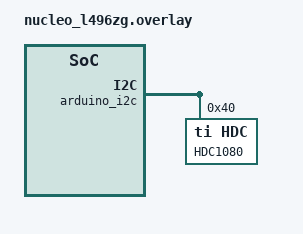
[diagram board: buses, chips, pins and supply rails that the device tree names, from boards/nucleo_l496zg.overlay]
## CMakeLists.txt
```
# SPDX-License-Identifier: Apache-2.0

cmake_minimum_required(VERSION 3.13.1)

find_package(Zephyr REQUIRED HINTS $ENV{ZEPHYR_BASE})
project(ti_hdc)

FILE(GLOB app_sources src/*.c)
target_sources(app PRIVATE ${app_sources})
```

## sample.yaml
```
sample:
  name: TI HDC Humidity/Temperature Sensor
tests:
  sample.sensor.ti_hdc:
    harness: sensor
    platform_allow: reel_board nucleo_l496zg
    integration_platforms:
      - reel_board
    tags: sensors
    depends_on: i2c
```

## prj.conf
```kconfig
CONFIG_ASSERT=y # validation
CONFIG_I2C=y
CONFIG_GPIO=y
CONFIG_SENSOR=y
CONFIG_TI_HDC=y
```

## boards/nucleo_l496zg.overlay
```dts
/*
 * Copyright (c) 2019 Centaur Analytics, Inc
 *
 * SPDX-License-Identifier: Apache-2.0
 */

&arduino_i2c {

	ti_hdc: ti_hdc@40 {
		compatible = "ti,hdc","ti,hdc1080";
		reg = <0x40>;
		label = "HDC1080";
	};

};
```

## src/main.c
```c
/*
 * Copyright (c) 2019 Centaur Analytics
 *
 * SPDX-License-Identifier: Apache-2.0
 */

#include <zephyr.h>
#include <device.h>
#include <drivers/sensor.h>
#include <sys/printk.h>
#include <sys/__assert.h>
#include <logging/log.h>
#include <drivers/gpio.h>

void main(void)
{
	printk("Running on %s!\n", CONFIG_ARCH);
	const struct device *dev = device_get_binding(DT_LABEL(DT_INST(0, ti_hdc)));

	__ASSERT(dev != NULL, "Failed to get device binding");

	printk("Dev %p name %s is ready!\n", dev, dev->name);

	struct sensor_value temp, humidity;

	while (1) {
		/* take a sample */
		printk("Fetching...\n");
		sensor_sample_fetch(dev);
		sensor_channel_get(dev, SENSOR_CHAN_AMBIENT_TEMP, &temp);
		sensor_channel_get(dev, SENSOR_CHAN_HUMIDITY, &humidity);

		/* print the result */
		printk("Temp = %d.%06d C, RH = %d.%06d %%\n",
		       temp.val1, temp.val2, humidity.val1, humidity.val2);

		/* wait for the next sample */
		k_sleep(K_SECONDS(10));
	}
}
```
